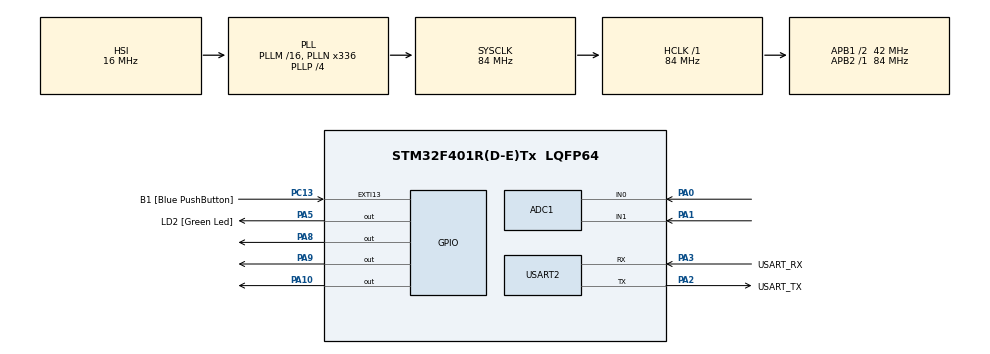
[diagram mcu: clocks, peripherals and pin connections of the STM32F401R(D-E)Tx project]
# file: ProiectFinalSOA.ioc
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ADC1.Channel-0\#ChannelRegularConversion=ADC_CHANNEL_0
ADC1.Channel-1\#ChannelRegularConversion=ADC_CHANNEL_1
ADC1.NbrOfConversion=2
ADC1.NbrOfConversionFlag=1
ADC1.Rank-0\#ChannelRegularConversion=1
ADC1.Rank-1\#ChannelRegularConversion=2
ADC1.SamplingTime-0\#ChannelRegularConversion=ADC_SAMPLETIME_3CYCLES
ADC1.SamplingTime-1\#ChannelRegularConversion=ADC_SAMPLETIME_3CYCLES
ADC1.ScanConvMode=ENABLE
ADC1.master=1
Dma.ADC1.0.Direction=DMA_PERIPH_TO_MEMORY
Dma.ADC1.0.FIFOMode=DMA_FIFOMODE_DISABLE
Dma.ADC1.0.Instance=DMA2_Stream0
Dma.ADC1.0.MemDataAlignment=DMA_MDATAALIGN_HALFWORD
Dma.ADC1.0.MemInc=DMA_MINC_ENABLE
Dma.ADC1.0.Mode=DMA_NORMAL
Dma.ADC1.0.PeriphDataAlignment=DMA_PDATAALIGN_HALFWORD
Dma.ADC1.0.PeriphInc=DMA_PINC_DISABLE
Dma.ADC1.0.Priority=DMA_PRIORITY_LOW
Dma.Request0=ADC1
FREERTOS.Queues01=myQueue01,16,uint16_t,0,Dynamic,NULL,NULL;myQueue02,16,uint16_t,0,Dynamic,NULL,NULL
FREERTOS.Tasks01=defaultTask,24,128,StartDefaultTask,Default,NULL,Dynamic,NULL,NULL;myTask02,8,128,StartTask02,Default,NULL,Dynamic,NULL,NULL;myTask03,8,128,StartTask03,Default,NULL,Dynamic,NULL,NULL;myTask04,8,128,StartTask04,Default,NULL,Dynamic,NULL,NULL
Mcu.Family=STM32F4
Mcu.Name=STM32F401R(D-E)Tx
Mcu.Package=LQFP64
NVIC.ADC_IRQn=true\:5\:0\:false\:false\:true\:true\:true\:true\:true
NVIC.DMA2_Stream0_IRQn=true\:5\:0\:false\:false\:true\:true\:false\:true\:true
NVIC.EXTI15_10_IRQn=true\:5\:0\:false\:false\:true\:true\:true\:true\:true
NVIC.PriorityGroup=NVIC_PRIORITYGROUP_4
NVIC.TIM5_IRQn=true\:15\:0\:false\:false\:true\:false\:false\:true\:true
NVIC.TimeBase=TIM5_IRQn
NVIC.TimeBaseIP=TIM5
PA0-WKUP.Signal=ADCx_IN0
PA1.Signal=ADCx_IN1
PA10.Signal=GPIO_Output
PA13.GPIO_Label=TMS
PA13.Mode=Serial_Wire
PA13.Signal=SYS_JTMS-SWDIO
PA14.GPIO_Label=TCK
PA14.Mode=Serial_Wire
PA14.Signal=SYS_JTCK-SWCLK
PA2.GPIO_Label=USART_TX
PA2.GPIO_Mode=GPIO_MODE_AF_PP
PA2.GPIO_PuPd=GPIO_NOPULL
PA2.GPIO_Speed=GPIO_SPEED_FREQ_LOW
PA2.Mode=Asynchronous
PA2.Signal=USART2_TX
PA3.GPIO_Label=USART_RX
PA3.GPIO_Mode=GPIO_MODE_AF_PP
PA3.GPIO_PuPd=GPIO_NOPULL
PA3.GPIO_Speed=GPIO_SPEED_FREQ_LOW
PA3.Mode=Asynchronous
PA3.Signal=USART2_RX
PA5.GPIO_Label=LD2 [Green Led]
PA5.GPIO_Mode=GPIO_MODE_OUTPUT_PP
PA5.GPIO_PuPd=GPIO_NOPULL
PA5.GPIO_Speed=GPIO_SPEED_FREQ_LOW
PA5.Signal=GPIO_Output
PA8.Signal=GPIO_Output
PA9.Signal=GPIO_Output
PB3.GPIO_Label=SWO
PB3.Signal=SYS_JTDO-SWO
PC13-ANTI_TAMP.GPIO_Label=B1 [Blue PushButton]
PC13-ANTI_TAMP.GPIO_ModeDefaultEXTI=GPIO_MODE_IT_FALLING
PC13-ANTI_TAMP.GPIO_PuPd=GPIO_NOPULL
PC13-ANTI_TAMP.Signal=GPXTI13
PC14-OSC32_IN.Mode=LSE-External-Oscillator
PC14-OSC32_IN.Signal=RCC_OSC32_IN
PC15-OSC32_OUT.Mode=LSE-External-Oscillator
PC15-OSC32_OUT.Signal=RCC_OSC32_OUT
PH0\ -\ OSC_IN.Mode=HSE-External-Clock-Source
PH0\ -\ OSC_IN.Signal=RCC_OSC_IN
PH1\ -\ OSC_OUT.Mode=HSE-External-Clock-Source
PH1\ -\ OSC_OUT.Signal=RCC_OSC_OUT
ProjectManager.HeapSize=0x200
ProjectManager.StackSize=0x400
ProjectManager.TargetToolchain=STM32CubeIDE
RCC.48MHZClocksFreq_Value=48000000
RCC.AHBFreq_Value=84000000
RCC.APB1CLKDivider=RCC_HCLK_DIV2
RCC.APB1Freq_Value=42000000
RCC.APB1TimFreq_Value=84000000
RCC.APB2Freq_Value=84000000
RCC.APB2TimFreq_Value=84000000
RCC.CortexFreq_Value=84000000
RCC.HCLKFreq_Value=84000000
RCC.HSE_VALUE=8000000
RCC.HSI_VALUE=16000000
RCC.PLLN=336
RCC.PLLP=RCC_PLLP_DIV4
RCC.PLLQ=7
RCC.SYSCLKFreq_VALUE=84000000
RCC.SYSCLKSource=RCC_SYSCLKSOURCE_PLLCLK
RCC.VCOOutputFreq_Value=336000000
SH.ADCx_IN0.0=ADC1_IN0,IN0
SH.ADCx_IN1.0=ADC1_IN1,IN1
USART2.VirtualMode=VM_ASYNC
VP_FREERTOS_VS_CMSIS_V2.Mode=CMSIS_V2
VP_SYS_VS_tim5.Mode=TIM5
board=NUCLEO-F401RE

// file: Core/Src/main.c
/* USER CODE BEGIN Header */
/**
  **************************
  * @file           : main.c
  * @brief          : Main program body
  **************************
  * @attention
  *
  * Copyright (c) 2023 STMicroelectronics.
  * All rights reserved.
  *
  * This software is licensed under terms that can be found in the LICENSE file
  * in the root directory of this software component.
  * If no LICENSE file comes with this software, it is provided AS-IS.
  *
  **************************
  */
/* USER CODE END Header */
#include "main.h"
#include "cmsis_os.h"

/* USER CODE BEGIN Includes */
#include <stdio.h>
#include <string.h>
/* USER CODE END Includes */

/* USER CODE BEGIN PD */
#define AUTOMAT 0
#define MANUAL 1
uint16_t mod = AUTOMAT;
/* USER CODE END PD */

ADC_HandleTypeDef hadc1;
DMA_HandleTypeDef hdma_adc1;

UART_HandleTypeDef huart2;

/* Definitions for defaultTask */
osThreadId_t defaultTaskHandle;
const osThreadAttr_t defaultTask_attributes = {
  .name = "defaultTask",
  .stack_size = 128 * 4,
  .priority = (osPriority_t) osPriorityNormal,
};
/* Definitions for myTask02 */
osThreadId_t myTask02Handle;
const osThreadAttr_t myTask02_attributes = {
  .name = "myTask02",
  .stack_size = 128 * 4,
  .priority = (osPriority_t) osPriorityLow,
};
/* Definitions for myTask03 */
osThreadId_t myTask03Handle;
const osThreadAttr_t myTask03_attributes = {
  .name = "myTask03",
  .stack_size = 128 * 4,
  .priority = (osPriority_t) osPriorityLow,
};
/* Definitions for myTask04 */
osThreadId_t myTask04Handle;
const osThreadAttr_t myTask04_attributes = {
  .name = "myTask04",
  .stack_size = 128 * 4,
  .priority = (osPriority_t) osPriorityLow,
};
/* Definitions for myQueue01 */
osMessageQueueId_t myQueue01Handle;
const osMessageQueueAttr_t myQueue01_attributes = {
  .name = "myQueue01"
};
/* Definitions for myQueue02 */
osMessageQueueId_t myQueue02Handle;
const osMessageQueueAttr_t myQueue02_attributes = {
  .name = "myQueue02"
};

void SystemClock_Config(void);
static void MX_GPIO_Init(void);
static void MX_DMA_Init(void);
static void MX_USART2_UART_Init(void);
static void MX_ADC1_Init(void);
void StartDefaultTask(void *argument);
void StartTask02(void *argument);
void StartTask03(void *argument);
void StartTask04(void *argument);

int main(void)
{

  /* MCU Configuration--------------------------------------------------------*/

  /* Reset of all peripherals, Initializes the Flash interface and the Systick. */
  HAL_Init();

  /* Configure the system clock */
  SystemClock_Config();

  /* Initialize all configured peripherals */
  MX_GPIO_Init();
  MX_DMA_Init();
  MX_USART2_UART_Init();
  MX_ADC1_Init();

  /* Init scheduler */
  osKernelInitialize();

  /* Create the queue(s) */
  /* creation of myQueue01 */
  myQueue01Handle = osMessageQueueNew (16, sizeof(uint16_t), &myQueue01_attributes);

  /* creation of myQueue02 */
  myQueue02Handle = osMessageQueueNew (16, sizeof(uint16_t), &myQueue02_attributes);

  /* Create the thread(s) */
  /* creation of defaultTask */
  defaultTaskHandle = osThreadNew(StartDefaultTask, NULL, &defaultTask_attributes);

  /* creation of myTask02 */
  myTask02Handle = osThreadNew(StartTask02, NULL, &myTask02_attributes);

  /* creation of myTask03 */
  myTask03Handle = osThreadNew(StartTask03, NULL, &myTask03_attributes);

  /* creation of myTask04 */
  myTask04Handle = osThreadNew(StartTask04, NULL, &myTask04_attributes);

  /* Start scheduler */
  osKernelStart();

  /* We should never get here as control is now taken by the scheduler */
  /* Infinite loop */
  while (1)
  {

  }
}

void SystemClock_Config(void)
{
  RCC_OscInitTypeDef RCC_OscInitStruct = {0};
  RCC_ClkInitTypeDef RCC_ClkInitStruct = {0};

  /** Configure the main internal regulator output voltage
  */
  __HAL_RCC_PWR_CLK_ENABLE();
  __HAL_PWR_VOLTAGESCALING_CONFIG(PWR_REGULATOR_VOLTAGE_SCALE2);

  /** Initializes the RCC Oscillators according to the specified parameters
  * in the RCC_OscInitTypeDef structure.
  */
  RCC_OscInitStruct.OscillatorType = RCC_OSCILLATORTYPE_HSI;
  RCC_OscInitStruct.HSIState = RCC_HSI_ON;
  RCC_OscInitStruct.HSICalibrationValue = RCC_HSICALIBRATION_DEFAULT;
  RCC_OscInitStruct.PLL.PLLState = RCC_PLL_ON;
  RCC_OscInitStruct.PLL.PLLSource = RCC_PLLSOURCE_HSI;
  RCC_OscInitStruct.PLL.PLLM = 16;
  RCC_OscInitStruct.PLL.PLLN = 336;
  RCC_OscInitStruct.PLL.PLLP = RCC_PLLP_DIV4;
  RCC_OscInitStruct.PLL.PLLQ = 7;
  if (HAL_RCC_OscConfig(&RCC_OscInitStruct) != HAL_OK)
  {
    Error_Handler();
  }

  /** Initializes the CPU, AHB and APB buses clocks
  */
  RCC_ClkInitStruct.ClockType = RCC_CLOCKTYPE_HCLK|RCC_CLOCKTYPE_SYSCLK
                              |RCC_CLOCKTYPE_PCLK1|RCC_CLOCKTYPE_PCLK2;
  RCC_ClkInitStruct.SYSCLKSource = RCC_SYSCLKSOURCE_PLLCLK;
  RCC_ClkInitStruct.AHBCLKDivider = RCC_SYSCLK_DIV1;
  RCC_ClkInitStruct.APB1CLKDivider = RCC_HCLK_DIV2;
  RCC_ClkInitStruct.APB2CLKDivider = RCC_HCLK_DIV1;

  if (HAL_RCC_ClockConfig(&RCC_ClkInitStruct, FLASH_LATENCY_2) != HAL_OK)
  {
    Error_Handler();
  }
}

static void MX_ADC1_Init(void)
{

  ADC_ChannelConfTypeDef sConfig = {0};

  /** Configure the global features of the ADC (Clock, Resolution, Data Alignment and number of conversion)
  */
  hadc1.Instance = ADC1;
  hadc1.Init.ClockPrescaler = ADC_CLOCK_SYNC_PCLK_DIV4;
  hadc1.Init.Resolution = ADC_RESOLUTION_12B;
  hadc1.Init.ScanConvMode = ENABLE;
  hadc1.Init.ContinuousConvMode = DISABLE;
  hadc1.Init.DiscontinuousConvMode = DISABLE;
  hadc1.Init.ExternalTrigConvEdge = ADC_EXTERNALTRIGCONVEDGE_NONE;
  hadc1.Init.ExternalTrigConv = ADC_SOFTWARE_START;
  hadc1.Init.DataAlign = ADC_DATAALIGN_RIGHT;
  hadc1.Init.NbrOfConversion = 2;
  hadc1.Init.DMAContinuousRequests = DISABLE;
  hadc1.Init.EOCSelection = ADC_EOC_SINGLE_CONV;
  if (HAL_ADC_Init(&hadc1) != HAL_OK)
  {
    Error_Handler();
  }

  /** Configure for the selected ADC regular channel its corresponding rank in the sequencer and its sample time.
  */
  sConfig.Channel = ADC_CHANNEL_0;
  sConfig.Rank = 1;
  sConfig.SamplingTime = ADC_SAMPLETIME_3CYCLES;
  if (HAL_ADC_ConfigChannel(&hadc1, &sConfig) != HAL_OK)
  {
    Error_Handler();
  }

  /** Configure for the selected ADC regular channel its corresponding rank in the sequencer and its sample time.
  */
  sConfig.Channel = ADC_CHANNEL_1;
  sConfig.Rank = 2;
  if (HAL_ADC_ConfigChannel(&hadc1, &sConfig) != HAL_OK)
  {
    Error_Handler();
  }

}

static void MX_USART2_UART_Init(void)
{

  huart2.Instance = USART2;
  huart2.Init.BaudRate = 115200;
  huart2.Init.WordLength = UART_WORDLENGTH_8B;
  huart2.Init.StopBits = UART_STOPBITS_1;
  huart2.Init.Parity = UART_PARITY_NONE;
  huart2.Init.Mode = UART_MODE_TX_RX;
  huart2.Init.HwFlowCtl = UART_HWCONTROL_NONE;
  huart2.Init.OverSampling = UART_OVERSAMPLING_16;
  if (HAL_UART_Init(&huart2) != HAL_OK)
  {
    Error_Handler();
  }

}

static void MX_DMA_Init(void)
{

  /* DMA controller clock enable */
  __HAL_RCC_DMA2_CLK_ENABLE();

  /* DMA interrupt init */
  /* DMA2_Stream0_IRQn interrupt configuration */
  HAL_NVIC_SetPriority(DMA2_Stream0_IRQn, 5, 0);
  HAL_NVIC_EnableIRQ(DMA2_Stream0_IRQn);

}

static void MX_GPIO_Init(void)
{
  GPIO_InitTypeDef GPIO_InitStruct = {0};

  /* GPIO Ports Clock Enable */
  __HAL_RCC_GPIOC_CLK_ENABLE();
  __HAL_RCC_GPIOH_CLK_ENABLE();
  __HAL_RCC_GPIOA_CLK_ENABLE();
  __HAL_RCC_GPIOB_CLK_ENABLE();

  /*Configure GPIO pin Output Level */
  HAL_GPIO_WritePin(GPIOA, LD2_Pin|GPIO_PIN_8|GPIO_PIN_9|GPIO_PIN_10, GPIO_PIN_RESET);

  /*Configure GPIO pin : B1_Pin */
  GPIO_InitStruct.Pin = B1_Pin;
  GPIO_InitStruct.Mode = GPIO_MODE_IT_FALLING;
  GPIO_InitStruct.Pull = GPIO_NOPULL;
  HAL_GPIO_Init(B1_GPIO_Port, &GPIO_InitStruct);

  /*Configure GPIO pins : LD2_Pin PA8 PA9 PA10 */
  GPIO_InitStruct.Pin = LD2_Pin|GPIO_PIN_8|GPIO_PIN_9|GPIO_PIN_10;
  GPIO_InitStruct.Mode = GPIO_MODE_OUTPUT_PP;
  GPIO_InitStruct.Pull = GPIO_NOPULL;
  GPIO_InitStruct.Speed = GPIO_SPEED_FREQ_LOW;
  HAL_GPIO_Init(GPIOA, &GPIO_InitStruct);

  /* EXTI interrupt init*/
  HAL_NVIC_SetPriority(EXTI15_10_IRQn, 5, 0);
  HAL_NVIC_EnableIRQ(EXTI15_10_IRQn);

}

/* USER CODE BEGIN 4 */
//FUNCTIA PENTRU GESTIONAREA INTRERUPERILOR
void HAL_GPIO_EXTI_Callback(uint16_t GPIO_Pin){
//VERIFICA DACA PINUL CARE A DECLANSAT INTRERUPEREA ESTE B1_Pin
	if(GPIO_Pin == B1_Pin){
		//VERIFICA VAR 'MOD'
				if(mod == AUTOMAT){
					//DACA 'MOD' ESTE IN STAREA 'AUTOMAT' O SCHIMBA IN 'MANUAL'
					mod = MANUAL;
					//APRINDE LEDUL INTEGRAT
					HAL_GPIO_WritePin(GPIOA, LD2_Pin, GPIO_PIN_SET);

				}
				else {
					//DACA 'MOD' ESTE IN 'MANUAL' O SCHIMBA IN 'AUTOMAT'
					mod = AUTOMAT;
					//STINGE LEDUL INTEGRAT
					HAL_GPIO_WritePin(GPIOA, LD2_Pin, GPIO_PIN_RESET);
				}
	}
	osDelay(100);
}
/* USER CODE END 4 */

void StartDefaultTask(void *argument)
{
  /* USER CODE BEGIN 5 */
	//SE SUSPENDA TASK UL 4
	osThreadSuspend(myTask04Handle);
	//SE DEFINESTE UN ARRAY PENTRU A STOVA VALORILE CITITE DE LA ADC
	uint16_t valADC[2];
	/* Infinite loop */
	for (;;) {
		//VERIFICA DACA MODUL ESTE 'AUTOMAT'
		if (mod == AUTOMAT) {
			//SE INCEPE CONVERSIA ADC UTILIZAND DMA
			HAL_ADC_Start_DMA(&hadc1, (uint16_t*) valADC, 2);
			//CITESTE VALOAREA ADC IN VAR 'valADC[0]'
			valADC[0] = HAL_ADC_GetValue(&hadc1);
			//PUNE VALOAREA CITITA IN 2 COZI
			osMessageQueuePut(myQueue01Handle, &valADC[0], 1, 10);
			osMessageQueuePut(myQueue02Handle, &valADC[0], 1, 10);
			//ASTEAPTA '200MS' SI REIA BUCLA
			osDelay(200);

		} else {
			//DACA MODUL ESTE 'MANUAL' PORNESTE TASK UL 4 SI LE SUSPENDA PE CELELALTE 3
			osThreadResume(myTask04Handle);
			osThreadSuspend(myTask03Handle);
			osThreadSuspend(myTask02Handle);
			osThreadSuspend(defaultTaskHandle);
		}
	}

  /* USER CODE END 5 */
}

void StartTask02(void *argument)
{
  /* USER CODE BEGIN StartTask02 */
	//VARIABILA LOCALA CARE STOCHEAZA VALORI PRIMITE DE LA COADA
	uint16_t val_automat;
  /* Infinite loop */
  for(;;)
  {
	  //EXTRAGE DATELE DIN COADA
	  if(osMessageQueueGet(myQueue01Handle, &val_automat, (uint16_t*)1, 10) == osOK){
			  if(val_automat < 512){
				  //DACA VALOAREA ESTE < 512 SE APRINDE UN LED
				  HAL_GPIO_WritePin(GPIOA, GPIO_PIN_8, GPIO_PIN_SET);
				  HAL_GPIO_WritePin(GPIOA, GPIO_PIN_9, GPIO_PIN_RESET);
				  HAL_GPIO_WritePin(GPIOA, GPIO_PIN_10, GPIO_PIN_RESET);
			  } else if(val_automat >= 512 && val_automat < 768 ){
				  //DACA VALOAREA ESTE >=512 && < 768 SE APRIND 2 LEDURI
				  HAL_GPIO_WritePin(GPIOA, GPIO_PIN_8, GPIO_PIN_SET);
				  HAL_GPIO_WritePin(GPIOA, GPIO_PIN_9, GPIO_PIN_SET);
				  HAL_GPIO_WritePin(GPIOA, GPIO_PIN_10, GPIO_PIN_RESET);
			  }else if(val_automat >= 768){
				  //DACA VALOAREA ESTE >= 768 SE APRIND TOATE 3 LEDURILE
				  HAL_GPIO_WritePin(GPIOA, GPIO_PIN_8, GPIO_PIN_SET);
				  HAL_GPIO_WritePin(GPIOA, GPIO_PIN_9, GPIO_PIN_SET);
				  HAL_GPIO_WritePin(GPIOA, GPIO_PIN_10, GPIO_PIN_SET);
			  }
	  }
	  //ASTEAPTA '200MS' SI REIA BUCLA
	  osDelay(200);
  }
  /* USER CODE END StartTask02 */
}

void StartTask03(void *argument)
{
  /* USER CODE BEGIN StartTask03 */
	//uint16_t readValue;
	//DEFINESTE UN BUFFER PENTRU STOCAREA VALORILOR PE CARE LE VA TRIMITE IN PORTUL SERIAL
	char buffer[20];
	//VARIABILA LOCALA CARE STOCHEAZA VALORI PRIMITE DE LA COADA
	uint16_t val_automat;
  /* Infinite loop */
  for(;;)
  {
	  //EXTRAGE VALORILE DIN COADA
	  if(osMessageQueueGet(myQueue02Handle, &val_automat, (uint16_t*)1, 10) == osOK)
	  	  	    {
		  	  	  	//STOCHEAZA VALORILE EXTRASE, IN BUFFER
	  	  	    	sprintf(buffer,"ADC_read_value:%d\r\n", val_automat);
	  	  	    	//AFISAZA MESAJUL IN PORTUL SERIAL
	  	  	    	HAL_UART_Transmit(&huart2, (uint16_t*)buffer,strlen(buffer),HAL_MAX_DELAY);
	  	  	    }
	  	  //ASTEAPTA '100MS' SI REIA BUCLA
	  	  osDelay(100);
  }
  /* USER CODE END StartTask03 */
}

void StartTask04(void *argument)
{
  /* USER CODE BEGIN StartTask04 */
	//MESAJUL AFISAT IN PORTUL SERIAL ATUNCI CAND SE TRECE IN MODUL 'MANUAL'
	char *port = "mod manual\r\t\t";
	//DEFINESTE UN ARRAY PENTRU A STOVA VALORILE CITITE DE LA ADC
	uint16_t valADC[2];
	//VARIABILA LOCALA CARE STOCHEAZA VALORI PRIMITE DE LA COADA
	uint16_t val_manual;
  /* Infinite loop */
  for(;;)
  {
	  //VERIFICA DACA MODUL ESTE 'MANUAL'
	  if(mod == MANUAL){
		  //TRIMITE MESAJUL 'mod manual' IN PORTUL SERIAL
		  HAL_UART_Transmit(&huart2, (uint16_t*)port,strlen(port),HAL_MAX_DELAY);
		  //INCEPE CONVERSIA ADC UTILIZAND DMA
		  HAL_ADC_Start_DMA(&hadc1,(uint32_t*)valADC, 2);
		  //CITESTE VALOAREA ADC IN 'valADC[1]'
		  valADC[1] = HAL_ADC_GetValue(&hadc1);
		  //COPIAZA VALOAREA IN VARIABILA 'val_manual'
		  val_manual = valADC[1];
			 if(val_manual < 512){
				 //DACA VALOAREA ESTE < 512 SE APRINDE UN LED
				 HAL_GPIO_WritePin(GPIOA, GPIO_PIN_8, SET);
				 HAL_GPIO_WritePin(GPIOA, GPIO_PIN_9, RESET);
				 HAL_GPIO_WritePin(GPIOA, GPIO_PIN_10, RESET);
			  }else if(val_manual >= 512 && val_manual < 768 ){
				  //DACA VALOAREA ESTE >=512 && < 768 SE APRIND 2 LEDURI
				 HAL_GPIO_WritePin(GPIOA, GPIO_PIN_8, SET);
				 HAL_GPIO_WritePin(GPIOA, GPIO_PIN_9, SET);
				 HAL_GPIO_WritePin(GPIOA, GPIO_PIN_10, RESET);
			  }else if(val_manual >= 768){
				  //DACA VALOAREA ESTE >= 768 SE APRIND TOATE 3 LEDURILE
				  HAL_GPIO_WritePin(GPIOA, GPIO_PIN_8, SET);
				  HAL_GPIO_WritePin(GPIOA, GPIO_PIN_9, SET);
				  HAL_GPIO_WritePin(GPIOA, GPIO_PIN_10, SET);
			  }
	  }
	  else {
		  //DACA MODUL ESTE 'AUTOMAT' SES SUSPENDA ACEST TASK SI SE PORNESC CELELALTE
		  osThreadSuspend(myTask04Handle);
		  osThreadResume(defaultTaskHandle);
		  osThreadResume(myTask02Handle);
		  osThreadResume(myTask03Handle);
	  }
	  //ASTEAPTA '500MS' SI REIA BUCLA
	  osDelay(500);
	  	  }

  /* USER CODE END StartTask04 */
}

void HAL_TIM_PeriodElapsedCallback(TIM_HandleTypeDef *htim)
{
  if (htim->Instance == TIM5) {
    HAL_IncTick();
  }
}

void Error_Handler(void)
{
  __disable_irq();
  while (1)
  {
  }
}
